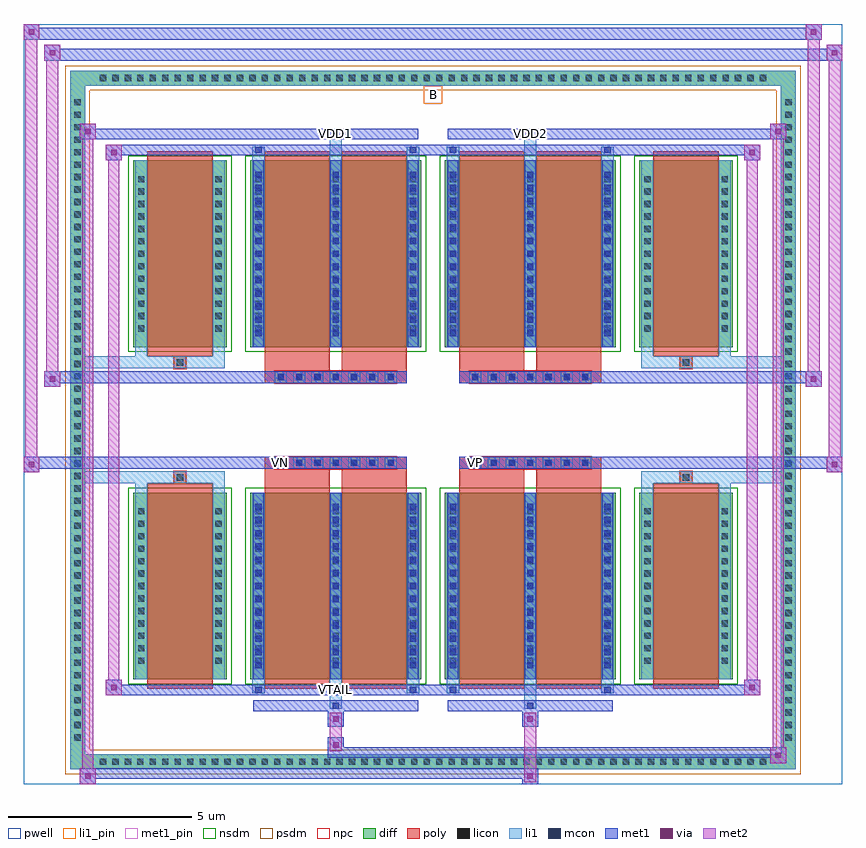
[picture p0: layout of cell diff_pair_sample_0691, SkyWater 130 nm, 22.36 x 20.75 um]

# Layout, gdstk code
import gdstk
lib = gdstk.Library(unit=1e-6, precision=5e-09)
def R(c, l, rs):  # rectangles x0, y0, x1, y1
    for r in rs: c.add(gdstk.rectangle(r[:2], r[2:], *l))
def A(c, l, x, y, w, h, nx, ny, dx, dy):  # array of equal rectangles
    R(c, l, [(x+i*dx, y+j*dy, x+i*dx+w, y+j*dy+h) for i in range(nx) for j in range(ny)])
def P(c, l, *ps):  # polygons
    for p in ps: c.add(gdstk.Polygon(p, *l))
pwell = (64, 44)
diff = (65, 20)
poly = (66, 20)
licon = (66, 44)
li1_pin = (67, 16)
li1 = (67, 20)
mcon = (67, 44)
met1_pin = (68, 16)
met1 = (68, 20)
via = (68, 44)
met2 = (69, 20)
nsdm = (93, 44)
psdm = (94, 20)
npc = (95, 20)

diff_pair_sample_0691 = lib.new_cell('diff_pair_sample_0691')
R(diff_pair_sample_0691, pwell, [(-11.18,-9.94,11.18,10.81), (-8.5,-8.13,-0.01,-0.805), (0.01,-8.13,8.5,-0.805), (-8.5,0.805,-0.01,8.13), (0.01,0.805,8.5,8.13)])
A(diff_pair_sample_0691, diff, -9.215, -9.54, 0.41, 0.41, 54, 2, 0.34, 18.67)
A(diff_pair_sample_0691, diff, -9.91, -8.875, 0.41, 0.41, 1, 52, 0, 0.34)
A(diff_pair_sample_0691, diff, 9.5, -8.875, 0.41, 0.41, 1, 52, 0, 0.34)
R(diff_pair_sample_0691, diff, [(-9.215,-9.54,9.215,-9.13), (-9.91,-8.875,-9.5,8.875), (9.5,-8.875,9.91,8.875), (-8.19,-7.085,-5.63,-1.985), (-4.99,-7.085,-0.32,-1.985), (0.32,-7.085,4.99,-1.985), (5.63,-7.085,8.19,-1.985), (-8.19,1.985,-5.63,7.085), (-4.99,1.985,-0.32,7.085), (0.32,1.985,4.99,7.085), (5.63,1.985,8.19,7.085), (-9.215,9.13,9.215,9.54)])
P(diff_pair_sample_0691, diff, [(9.91,9.54),(-9.91,9.54),(-9.91,-9.13),(-9.5,-9.13),(-9.5,9.13),(9.5,9.13),(9.5,-9.13),(-9.5,-9.13),(-9.91,-9.13),(-9.91,-9.54),(9.91,-9.54)])
A(diff_pair_sample_0691, poly, -4.32, -1.335, 0.33, 0.33, 7, 2, 0.5, 2.34)
A(diff_pair_sample_0691, poly, 0.99, -1.335, 0.33, 0.33, 7, 2, 0.5, 2.34)
R(diff_pair_sample_0691, poly, [(-7.8,-7.335,-6.02,-1.735), (-4.6,-7.335,-2.82,-1.735), (-2.49,-7.335,-0.71,-1.735), (0.71,-7.335,2.49,-1.735), (2.82,-7.335,4.6,-1.735), (6.02,-7.335,7.8,-1.735), (-7.075,-1.735,-6.745,-1.405), (-7.075,-1.735,-6.745,-1.405), (-4.6,-1.735,-2.82,-1.335), (-2.49,-1.735,-0.71,-1.335), (0.71,-1.735,2.49,-1.335), (2.82,-1.735,4.6,-1.335), (6.745,-1.735,7.075,-1.405), (6.745,-1.735,7.075,-1.405), (-4.6,-1.335,-0.71,-1.005), (0.71,-1.335,4.6,-1.005), (-4.6,1.005,-0.71,1.335), (0.71,1.005,4.6,1.335), (-4.6,1.335,-2.82,1.735), (-2.49,1.335,-0.71,1.735), (0.71,1.335,2.49,1.735), (2.82,1.335,4.6,1.735), (-7.075,1.405,-6.745,1.735), (-7.075,1.405,-6.745,1.735), (6.745,1.405,7.075,1.735), (6.745,1.405,7.075,1.735), (-7.8,1.735,-6.02,7.335), (-4.6,1.735,-2.82,7.335), (-2.49,1.735,-0.71,7.335), (0.71,1.735,2.49,7.335), (2.82,1.735,4.6,7.335), (6.02,1.735,7.8,7.335)])
A(diff_pair_sample_0691, licon, -9.095, -9.42, 0.17, 0.17, 54, 2, 0.34, 18.67)
A(diff_pair_sample_0691, licon, -9.79, -8.755, 0.17, 0.17, 1, 52, 0, 0.34)
A(diff_pair_sample_0691, licon, 9.62, -8.755, 0.17, 0.17, 1, 52, 0, 0.34)
A(diff_pair_sample_0691, licon, -8.05, -6.66, 0.17, 0.17, 1, 13, 0, 0.34)
A(diff_pair_sample_0691, licon, -5.94, -6.66, 0.17, 0.17, 1, 13, 0, 0.34)
A(diff_pair_sample_0691, licon, -4.85, -6.66, 0.17, 0.17, 3, 13, 2.11, 0.34)
A(diff_pair_sample_0691, licon, 0.46, -6.66, 0.17, 0.17, 3, 13, 2.11, 0.34)
A(diff_pair_sample_0691, licon, 5.77, -6.66, 0.17, 0.17, 1, 13, 0, 0.34)
A(diff_pair_sample_0691, licon, 7.88, -6.66, 0.17, 0.17, 1, 13, 0, 0.34)
A(diff_pair_sample_0691, licon, -4.24, -1.255, 0.17, 0.17, 7, 2, 0.5, 2.34)
A(diff_pair_sample_0691, licon, 1.07, -1.255, 0.17, 0.17, 7, 2, 0.5, 2.34)
A(diff_pair_sample_0691, licon, -8.05, 2.41, 0.17, 0.17, 1, 13, 0, 0.34)
A(diff_pair_sample_0691, licon, -5.94, 2.41, 0.17, 0.17, 1, 13, 0, 0.34)
A(diff_pair_sample_0691, licon, -4.85, 2.41, 0.17, 0.17, 3, 13, 2.11, 0.34)
A(diff_pair_sample_0691, licon, 0.46, 2.41, 0.17, 0.17, 3, 13, 2.11, 0.34)
A(diff_pair_sample_0691, licon, 5.77, 2.41, 0.17, 0.17, 1, 13, 0, 0.34)
A(diff_pair_sample_0691, licon, 7.88, 2.41, 0.17, 0.17, 1, 13, 0, 0.34)
R(diff_pair_sample_0691, licon, [(-6.995,-1.655,-6.825,-1.485), (6.825,-1.655,6.995,-1.485), (-6.995,1.485,-6.825,1.655), (6.825,1.485,6.995,1.655)])
R(diff_pair_sample_0691, li1_pin, [(-0.25,8.63,0.25,9.13)])
A(diff_pair_sample_0691, li1, -9.175, -9.5, 0.33, 0.33, 54, 2, 0.34, 18.67)
A(diff_pair_sample_0691, li1, -9.87, -8.835, 0.33, 0.33, 1, 52, 0, 0.34)
A(diff_pair_sample_0691, li1, 9.54, -8.835, 0.33, 0.33, 1, 52, 0, 0.34)
A(diff_pair_sample_0691, li1, -4.93, -7.085, 0.33, 5.1, 3, 2, 2.11, 9.07)
A(diff_pair_sample_0691, li1, 0.38, -7.085, 0.33, 5.1, 3, 2, 2.11, 9.07)
A(diff_pair_sample_0691, li1, -4.85, -6.78, 0.17, 0.17, 3, 13, 2.11, 0.36)
A(diff_pair_sample_0691, li1, -4.85, -6.78, 0.17, 4.49, 3, 2, 2.11, 9.07)
A(diff_pair_sample_0691, li1, 0.46, -6.78, 0.17, 0.17, 3, 13, 2.11, 0.36)
A(diff_pair_sample_0691, li1, 0.46, -6.78, 0.17, 4.49, 3, 2, 2.11, 9.07)
A(diff_pair_sample_0691, li1, -8.13, -6.74, 0.33, 0.33, 1, 13, 0, 0.34)
A(diff_pair_sample_0691, li1, -6.02, -6.74, 0.33, 0.33, 1, 13, 0, 0.34)
A(diff_pair_sample_0691, li1, -4.93, -6.74, 0.33, 0.33, 3, 13, 2.11, 0.34)
A(diff_pair_sample_0691, li1, 0.38, -6.74, 0.33, 0.33, 3, 13, 2.11, 0.34)
A(diff_pair_sample_0691, li1, 5.69, -6.74, 0.33, 0.33, 1, 13, 0, 0.34)
A(diff_pair_sample_0691, li1, 7.8, -6.74, 0.33, 0.33, 1, 13, 0, 0.34)
A(diff_pair_sample_0691, li1, -4.32, -1.335, 0.33, 0.33, 7, 2, 0.5, 2.34)
A(diff_pair_sample_0691, li1, 0.99, -1.335, 0.33, 0.33, 7, 2, 0.5, 2.34)
A(diff_pair_sample_0691, li1, -4.85, 2.29, 0.17, 0.17, 3, 13, 2.11, 0.36)
A(diff_pair_sample_0691, li1, 0.46, 2.29, 0.17, 0.17, 3, 13, 2.11, 0.36)
A(diff_pair_sample_0691, li1, -8.13, 2.33, 0.33, 0.33, 1, 13, 0, 0.34)
A(diff_pair_sample_0691, li1, -6.02, 2.33, 0.33, 0.33, 1, 13, 0, 0.34)
A(diff_pair_sample_0691, li1, -4.93, 2.33, 0.33, 0.33, 3, 13, 2.11, 0.34)
A(diff_pair_sample_0691, li1, 0.38, 2.33, 0.33, 0.33, 3, 13, 2.11, 0.34)
A(diff_pair_sample_0691, li1, 5.69, 2.33, 0.33, 0.33, 1, 13, 0, 0.34)
A(diff_pair_sample_0691, li1, 7.8, 2.33, 0.33, 0.33, 1, 13, 0, 0.34)
R(diff_pair_sample_0691, li1, [(-9.91,-9.54,-9.5,-9.13), (-9.91,-9.54,-9.5,-9.13), (-9.5,-9.54,9.5,-9.13), (9.5,-9.54,9.91,-9.13), (9.5,-9.54,9.91,-9.13), (-9.91,-9.13,-9.5,9.13), (9.5,-9.13,9.91,9.13), (-2.82,-7.89,-2.49,-7.085), (-2.74,-7.89,-2.57,-7.72), (2.49,-7.89,2.82,-7.085), (2.57,-7.89,2.74,-7.72), (-4.93,-7.46,-4.6,-7.085), (-4.85,-7.46,-4.68,-7.29), (-0.71,-7.46,-0.38,-7.085), (-0.63,-7.46,-0.46,-7.29), (0.38,-7.46,0.71,-7.085), (0.46,-7.46,0.63,-7.29), (4.6,-7.46,4.93,-7.085), (4.68,-7.46,4.85,-7.29), (-8.13,-7.085,-7.8,-1.985), (-6.02,-7.085,-5.69,-1.985), (5.69,-7.085,6.02,-1.985), (7.8,-7.085,8.13,-1.985), (-8.13,-1.985,-7.8,-1.405), (-6.02,-1.985,-5.69,-1.405), (5.69,-1.985,6.02,-1.405), (7.8,-1.985,8.13,-1.405), (-9.91,-1.735,-7.075,-1.405), (-8.13,-1.735,-7.075,-1.405), (-7.075,-1.735,-6.745,-1.405), (-6.745,-1.735,-5.69,-1.405), (5.69,-1.735,6.745,-1.405), (6.745,-1.735,7.075,-1.405), (6.745,-1.735,9.91,-1.405), (7.075,-1.735,8.13,-1.405), (-9.91,1.405,-7.075,1.735), (-8.13,1.405,-7.075,1.735), (-8.13,1.405,-7.8,1.985), (-7.075,1.405,-6.745,1.735), (-6.745,1.405,-5.69,1.735), (-6.02,1.405,-5.69,1.985), (5.69,1.405,6.745,1.735), (5.69,1.405,6.02,1.985), (6.745,1.405,7.075,1.735), (6.745,1.405,9.91,1.735), (7.075,1.405,8.13,1.735), (7.8,1.405,8.13,1.985), (-8.13,1.985,-7.8,7.085), (-6.02,1.985,-5.69,7.085), (5.69,1.985,6.02,7.085), (7.8,1.985,8.13,7.085), (-4.93,7.085,-4.6,7.46), (-2.82,7.085,-2.49,7.89), (-0.71,7.085,-0.38,7.46), (0.38,7.085,0.71,7.46), (2.49,7.085,2.82,7.89), (4.6,7.085,4.93,7.46), (-4.85,7.29,-4.68,7.46), (-0.63,7.29,-0.46,7.46), (0.46,7.29,0.63,7.46), (4.68,7.29,4.85,7.46), (-2.74,7.72,-2.57,7.89), (2.57,7.72,2.74,7.89), (-9.91,9.13,-9.5,9.54), (-9.91,9.13,-9.5,9.54), (-9.5,9.13,9.5,9.54), (9.5,9.13,9.91,9.54), (9.5,9.13,9.91,9.54)])
A(diff_pair_sample_0691, mcon, -4.85, -6.78, 0.17, 0.17, 3, 13, 2.11, 0.36)
A(diff_pair_sample_0691, mcon, 0.46, -6.78, 0.17, 0.17, 3, 13, 2.11, 0.36)
A(diff_pair_sample_0691, mcon, -4.24, -1.255, 0.17, 0.17, 7, 2, 0.5, 2.34)
A(diff_pair_sample_0691, mcon, 1.07, -1.255, 0.17, 0.17, 7, 2, 0.5, 2.34)
A(diff_pair_sample_0691, mcon, -4.85, 2.29, 0.17, 0.17, 3, 13, 2.11, 0.36)
A(diff_pair_sample_0691, mcon, 0.46, 2.29, 0.17, 0.17, 3, 13, 2.11, 0.36)
R(diff_pair_sample_0691, mcon, [(-2.74,-7.89,-2.57,-7.72), (2.57,-7.89,2.74,-7.72), (-4.85,-7.46,-4.68,-7.29), (-0.63,-7.46,-0.46,-7.29), (0.46,-7.46,0.63,-7.29), (4.68,-7.46,4.85,-7.29), (-4.85,7.29,-4.68,7.46), (-0.63,7.29,-0.46,7.46), (0.46,7.29,0.63,7.46), (4.68,7.29,4.85,7.46), (-2.74,7.72,-2.57,7.89), (2.57,7.72,2.74,7.89)])
R(diff_pair_sample_0691, met1_pin, [(-2.79,-7.5,-2.52,-7.23), (-4.29,-1.295,-4.02,-1.025), (1.02,-1.295,1.29,-1.025), (-2.79,7.68,-2.52,7.95), (2.52,7.68,2.79,7.95)])
A(diff_pair_sample_0691, met1, -4.91, -7.085, 0.29, 5.1, 3, 2, 2.11, 9.07)
A(diff_pair_sample_0691, met1, 0.4, -7.085, 0.29, 5.1, 3, 2, 2.11, 9.07)
A(diff_pair_sample_0691, met1, -4.91, -6.84, 0.29, 0.29, 3, 13, 2.11, 0.36)
A(diff_pair_sample_0691, met1, 0.4, -6.84, 0.29, 0.29, 3, 13, 2.11, 0.36)
A(diff_pair_sample_0691, met1, -4.3, -1.315, 0.29, 0.29, 7, 2, 0.5, 2.34)
A(diff_pair_sample_0691, met1, 1.01, -1.315, 0.29, 0.29, 7, 2, 0.5, 2.34)
A(diff_pair_sample_0691, met1, -4.91, 2.23, 0.29, 0.29, 3, 13, 2.11, 0.36)
A(diff_pair_sample_0691, met1, 0.4, 2.23, 0.29, 0.29, 3, 13, 2.11, 0.36)
R(diff_pair_sample_0691, met1, [(-9.64,-9.94,-9.21,-9.51), (2.44,-9.94,2.87,-9.51), (-9.64,-9.8,2.87,-9.51), (9.21,-9.37,9.64,-8.94), (-2.87,-9.23,9.64,-8.94), (-2.87,-9.09,-2.44,-8.66), (-2.87,-8.38,-2.44,-7.95), (2.44,-8.38,2.87,-7.95), (-4.91,-7.95,-0.4,-7.66), (-2.8,-7.95,-2.51,-7.66), (0.4,-7.95,4.91,-7.66), (2.51,-7.95,2.8,-7.66), (-8.93,-7.52,-8.5,-7.09), (-8.93,-7.52,-4.91,-7.23), (-4.91,-7.52,-4.62,-7.23), (-4.91,-7.52,-0.4,-7.23), (-0.69,-7.52,-0.4,-7.23), (-0.4,-7.52,0.4,-7.23), (0.4,-7.52,0.69,-7.23), (0.4,-7.52,4.91,-7.23), (4.62,-7.52,4.91,-7.23), (4.91,-7.52,8.93,-7.23), (8.5,-7.52,8.93,-7.09), (-11.18,-1.435,-10.75,-1.005), (10.75,-1.435,11.18,-1.005), (-11.18,-1.335,-0.71,-1.005), (-4.6,-1.335,-0.71,-1.005), (0.71,-1.335,4.6,-1.005), (0.71,-1.335,11.18,-1.005), (-10.61,0.905,-10.18,1.335), (10.18,0.905,10.61,1.335), (-10.61,1.005,-4.6,1.335), (-4.6,1.005,-0.71,1.335), (0.71,1.005,4.6,1.335), (4.6,1.005,10.61,1.335), (-8.93,7.09,-8.5,7.52), (8.5,7.09,8.93,7.52), (-8.93,7.23,-4.91,7.52), (-4.91,7.23,-4.62,7.52), (-4.91,7.23,-0.4,7.52), (-0.69,7.23,-0.4,7.52), (-0.4,7.23,0.4,7.52), (0.4,7.23,0.69,7.52), (0.4,7.23,4.91,7.52), (4.62,7.23,4.91,7.52), (4.91,7.23,8.93,7.52), (-9.64,7.66,-9.21,8.09), (-9.64,7.66,-4.91,7.95), (-4.91,7.66,-0.4,7.95), (-2.8,7.66,-2.51,7.95), (0.4,7.66,4.91,7.95), (2.51,7.66,2.8,7.95), (4.91,7.66,9.64,7.95), (9.21,7.66,9.64,8.09), (-10.61,9.81,-10.18,10.24), (-10.61,9.81,-8.5,10.14), (-8.5,9.81,8.5,10.14), (8.5,9.81,11.18,10.14), (10.75,9.81,11.18,10.24), (-11.18,10.38,-10.75,10.81), (-11.18,10.38,-8.5,10.71), (-8.5,10.38,8.5,10.71), (8.5,10.38,10.61,10.71), (10.18,10.38,10.61,10.81)])
R(diff_pair_sample_0691, via, [(-9.5,-9.8,-9.35,-9.65), (2.58,-9.8,2.73,-9.65), (9.35,-9.23,9.5,-9.08), (-2.73,-8.95,-2.58,-8.8), (-2.73,-8.24,-2.58,-8.09), (2.58,-8.24,2.73,-8.09), (-8.79,-7.38,-8.64,-7.23), (8.64,-7.38,8.79,-7.23), (-11.04,-1.295,-10.89,-1.145), (10.89,-1.295,11.04,-1.145), (-10.47,1.045,-10.32,1.195), (10.32,1.045,10.47,1.195), (-8.79,7.23,-8.64,7.38), (8.64,7.23,8.79,7.38), (-9.5,7.8,-9.35,7.95), (9.35,7.8,9.5,7.95), (-10.47,9.95,-10.32,10.1), (10.89,9.95,11.04,10.1), (-11.04,10.52,-10.89,10.67), (10.32,10.52,10.47,10.67)])
R(diff_pair_sample_0691, met2, [(-9.64,-9.94,-9.21,-9.51), (-9.57,-9.94,-9.28,8.09), (-9.28,-9.94,-9.21,-9.51), (-9.59,-9.89,-9.26,-9.56), (2.49,-9.89,2.82,-9.56), (2.49,-9.56,2.82,-8.33), (9.21,-9.37,9.64,-8.94), (9.28,-9.37,9.57,8.09), (9.57,-9.37,9.64,-8.94), (9.26,-9.32,9.59,-8.99), (-2.82,-9.04,-2.49,-8.71), (-2.82,-8.71,-2.49,-8.33), (-2.82,-8.33,-2.49,-8), (2.49,-8.33,2.82,-8), (-8.93,-7.52,-8.5,-7.09), (-8.86,-7.52,-8.57,7.52), (-8.57,-7.52,-8.5,-7.09), (8.5,-7.52,8.93,-7.09), (8.57,-7.52,8.86,7.52), (8.86,-7.52,8.93,-7.09), (-8.88,-7.47,-8.55,-7.14), (8.55,-7.47,8.88,-7.14), (-11.18,-1.435,-10.75,-1.005), (-11.13,-1.435,-10.8,10.81), (-10.8,-1.435,-10.75,-1.005), (10.75,-1.435,11.18,-1.005), (10.8,-1.435,11.13,10.24), (11.13,-1.435,11.18,-1.005), (-11.13,-1.385,-10.8,-1.055), (10.8,-1.385,11.13,-1.055), (-10.61,0.905,-10.18,1.335), (-10.56,0.905,-10.23,10.24), (-10.23,0.905,-10.18,1.335), (10.18,0.905,10.61,1.335), (10.23,0.905,10.56,10.81), (10.56,0.905,10.61,1.335), (-10.56,0.955,-10.23,1.285), (10.23,0.955,10.56,1.285), (-8.93,7.09,-8.5,7.52), (-8.57,7.09,-8.5,7.52), (8.5,7.09,8.93,7.52), (8.86,7.09,8.93,7.52), (-8.88,7.14,-8.55,7.47), (8.55,7.14,8.88,7.47), (-9.64,7.66,-9.21,8.09), (-9.28,7.66,-9.21,8.09), (9.21,7.66,9.64,8.09), (9.57,7.66,9.64,8.09), (-9.59,7.71,-9.26,8.04), (9.26,7.71,9.59,8.04), (-10.61,9.81,-10.18,10.24), (-10.23,9.81,-10.18,10.24), (10.75,9.81,11.18,10.24), (11.13,9.81,11.18,10.24), (-10.56,9.86,-10.23,10.19), (10.8,9.86,11.13,10.19), (-11.18,10.38,-10.75,10.81), (-10.8,10.38,-10.75,10.81), (10.18,10.38,10.61,10.81), (10.56,10.38,10.61,10.81), (-11.13,10.43,-10.8,10.76), (10.23,10.43,10.56,10.76)])
R(diff_pair_sample_0691, nsdm, [(-8.32,-7.215,-5.5,-1.855), (-5.12,-7.215,-0.19,-1.855), (0.19,-7.215,5.12,-1.855), (5.5,-7.215,8.32,-1.855), (-8.32,1.855,-5.5,7.215), (-5.12,1.855,-0.19,7.215), (0.19,1.855,5.12,7.215), (5.5,1.855,8.32,7.215)])
P(diff_pair_sample_0691, psdm, [(10.04,9.67),(-10.04,9.67),(-10.04,-9),(-9.37,-9),(-9.37,9),(9.37,9),(9.37,-9),(-9.37,-9),(-10.04,-9),(-10.04,-9.67),(10.04,-9.67)])
A(diff_pair_sample_0691, npc, -4.34, -1.355, 0.37, 0.37, 7, 2, 0.5, 2.34)
A(diff_pair_sample_0691, npc, 0.97, -1.355, 0.37, 0.37, 7, 2, 0.5, 2.34)
R(diff_pair_sample_0691, npc, [(-7.095,-1.755,-6.725,-1.385), (6.725,-1.755,7.095,-1.385), (-4.34,-1.355,-3.47,-0.985), (-4.34,-1.355,-3.47,-0.985), (-3.84,-1.355,-2.97,-0.985), (-3.84,-1.355,-2.97,-0.985), (-3.34,-1.355,-2.47,-0.985), (-3.34,-1.355,-2.47,-0.985), (-2.84,-1.355,-1.97,-0.985), (-2.84,-1.355,-1.97,-0.985), (-2.34,-1.355,-1.47,-0.985), (-2.34,-1.355,-1.47,-0.985), (-1.84,-1.355,-0.97,-0.985), (-1.84,-1.355,-0.97,-0.985), (0.97,-1.355,1.84,-0.985), (0.97,-1.355,1.84,-0.985), (1.47,-1.355,2.34,-0.985), (1.47,-1.355,2.34,-0.985), (1.97,-1.355,2.84,-0.985), (1.97,-1.355,2.84,-0.985), (2.47,-1.355,3.34,-0.985), (2.47,-1.355,3.34,-0.985), (2.97,-1.355,3.84,-0.985), (2.97,-1.355,3.84,-0.985), (3.47,-1.355,4.34,-0.985), (3.47,-1.355,4.34,-0.985), (-4.34,0.985,-3.47,1.355), (-4.34,0.985,-3.47,1.355), (-3.84,0.985,-2.97,1.355), (-3.84,0.985,-2.97,1.355), (-3.34,0.985,-2.47,1.355), (-3.34,0.985,-2.47,1.355), (-2.84,0.985,-1.97,1.355), (-2.84,0.985,-1.97,1.355), (-2.34,0.985,-1.47,1.355), (-2.34,0.985,-1.47,1.355), (-1.84,0.985,-0.97,1.355), (-1.84,0.985,-0.97,1.355), (0.97,0.985,1.84,1.355), (0.97,0.985,1.84,1.355), (1.47,0.985,2.34,1.355), (1.47,0.985,2.34,1.355), (1.97,0.985,2.84,1.355), (1.97,0.985,2.84,1.355), (2.47,0.985,3.34,1.355), (2.47,0.985,3.34,1.355), (2.97,0.985,3.84,1.355), (2.97,0.985,3.84,1.355), (3.47,0.985,4.34,1.355), (3.47,0.985,4.34,1.355), (-7.095,1.385,-6.725,1.755), (6.725,1.385,7.095,1.755)])
diff_pair_sample_0691.add(gdstk.Label('VTAIL', (-2.655,-7.365), layer=68, texttype=5))
diff_pair_sample_0691.add(gdstk.Label('VN', (-4.155,-1.16), layer=68, texttype=5))
diff_pair_sample_0691.add(gdstk.Label('VP', (1.155,-1.16), layer=68, texttype=5))
diff_pair_sample_0691.add(gdstk.Label('B', (0,8.88), layer=67, texttype=5))
diff_pair_sample_0691.add(gdstk.Label('VDD2', (2.655,7.815), layer=68, texttype=5))
diff_pair_sample_0691.add(gdstk.Label('VDD1', (-2.655,7.815), layer=68, texttype=5))

lib.write_gds('diff_pair_sample_0691.gds')
